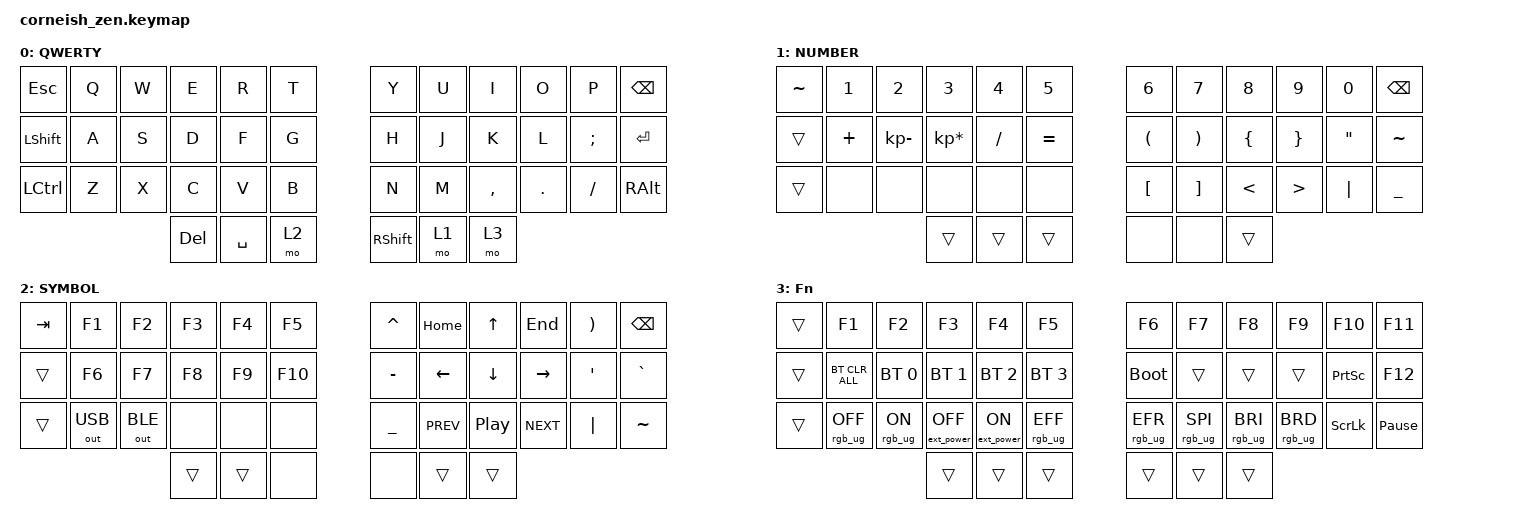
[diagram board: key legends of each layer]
/*
 * Copyright (c) 2020 The ZMK Contributors
 *
 * SPDX-License-Identifier: MIT
 */

#include <behaviors.dtsi>
#include <dt-bindings/zmk/bt.h>
#include <dt-bindings/zmk/ext_power.h>
#include <dt-bindings/zmk/keys.h>
#include <dt-bindings/zmk/outputs.h>
#include <dt-bindings/zmk/rgb.h>

/ {
    chosen {
        zmk,matrix_transform = &default_transform;

        // zmk,matrix_transform = &five_column_transform;
    };
};

/ {
    behaviors {
        td0: td0 {
            compatible = "zmk,behavior-tap-dance";
            label = "TD0";
            #binding-cells = <0>;
            bindings = <&kp LEFT_SHIFT>, <&kp CAPS>;
        };
    };

    keymap {
        compatible = "zmk,keymap";

        default_layer {
            display-name = "QWERTY";

            // --------------------------------------------------------------------------------
            // |  TAB |  Q  |  W  |  E  |  R  |  T  |   |  Y  |  U   |  I  |  O  |  P  | BKSP |
            // | CTRL |  A  |  S  |  D  |  F  |  G  |   |  H  |  J   |  K  |  L  |  ;  |  '   | 
            // | SHFT |  Z  |  X  |  C  |  V  |  B  |   |  N  |  M   |  ,  |  .  |  /  | ESC  |
            //                    | GUI | LWR | SPC |   | ENT | RSE  | ALT |

            bindings = <
&kp ESC     &kp Q  &kp W  &kp E       &kp R      &kp T    &kp Y            &kp U  &kp I      &kp O    &kp P     &kp BSPC
&kp LSHIFT  &kp A  &kp S  &kp D       &kp F      &kp G    &kp H            &kp J  &kp K      &kp L    &kp SEMI  &kp ENTER
&kp LCTRL   &kp Z  &kp X  &kp C       &kp V      &kp B    &kp N            &kp M  &kp COMMA  &kp DOT  &kp FSLH  &kp RIGHT_ALT
                          &kp DELETE  &kp SPACE  &mo 2    &kp RIGHT_SHIFT  &mo 1  &mo 3
            >;
        };

        lower_layer {
            display-name = "NUMBER";

            // -----------------------------------------------------------------------------------------
            // |  TAB |  1  |  2  |  3  |  4  |  5  |   |  6  |  7  |  8  |  9  |  0  | BKSP |
            // | BTCLR| BT1 | BT2 | BT3 | BT4 | BT5 |   | LFT | DWN |  UP | RGT |     |      |
            // | SHFT |     |     |     |     |     |   |     |     |     |     |     |      |
            //                    | GUI |     | SPC |   | ENT |     | ALT |

            bindings = <
&kp TILDE  &kp N1    &kp N2        &kp N3           &kp N4     &kp N5       &kp N6                &kp N7             &kp N8          &kp N9           &kp N0    &kp BSPC
&trans     &kp PLUS  &kp KP_MINUS  &kp KP_MULTIPLY  &kp SLASH  &kp EQUAL    &kp LEFT_PARENTHESIS  &kp RPAR           &kp LEFT_BRACE  &kp RIGHT_BRACE  &kp DQT   &kp TILDE
&trans     &none     &none         &none            &none      &none        &kp LEFT_BRACKET      &kp RIGHT_BRACKET  &kp LT          &kp GT           &kp PIPE  &kp UNDERSCORE
                                   &trans           &trans     &trans       &none                 &none              &trans
            >;
        };

        raise_layer {
            display-name = "SYMBOL";

            // -----------------------------------------------------------------------------------------
            // |  TAB |  !  |  @  |  #  |  $  |  %  |   |  ^  |  &  |  *  |  (  |  )  | BKSP |
            // | CTRL |     |     |     |     |     |   |  -  |  =  |  [  |  ]  |  \  |  `   |
            // | SHFT |     |     |     |     |     |   |  _  |  +  |  {  |  }  | "|" |  ~   |
            //                    | GUI |     | SPC |   | ENT |     | ALT |

            bindings = <
&kp TAB  &kp F1        &kp F2        &kp F3  &kp F4  &kp F5     &kp CARET  &kp HOME    &kp UP    &kp END     &kp RPAR          &kp BSPC
&trans   &kp F6        &kp F7        &kp F8  &kp F9  &kp F10    &kp MINUS  &kp LEFT    &kp DOWN  &kp RIGHT   &kp SINGLE_QUOTE  &kp GRAVE
&trans   &out OUT_USB  &out OUT_BLE  &none   &none   &none      &kp UNDER  &kp C_PREV  &kp C_PP  &kp C_NEXT  &kp PIPE          &kp TILDE
                                     &trans  &trans  &none      &none      &trans      &trans
            >;
        };

        layer_3 {
            display-name = "Fn";
            bindings = <
&trans  &kp F1           &kp F2          &kp F3             &kp F4            &kp F5             &kp F6           &kp F7           &kp F8           &kp F9           &kp F10          &kp F11
&trans  &bt BT_CLR_ALL   &bt BT_SEL 0    &bt BT_SEL 1       &bt BT_SEL 2      &bt BT_SEL 3       &bootloader      &trans           &trans           &trans           &kp PRINTSCREEN  &kp F12
&trans  &rgb_ug RGB_OFF  &rgb_ug RGB_ON  &ext_power EP_OFF  &ext_power EP_ON  &rgb_ug RGB_EFF    &rgb_ug RGB_EFR  &rgb_ug RGB_SPI  &rgb_ug RGB_BRI  &rgb_ug RGB_BRD  &kp SCROLLLOCK   &kp PAUSE_BREAK
                                         &trans             &trans            &trans             &trans           &trans           &trans
            >;
        };
    };
};
